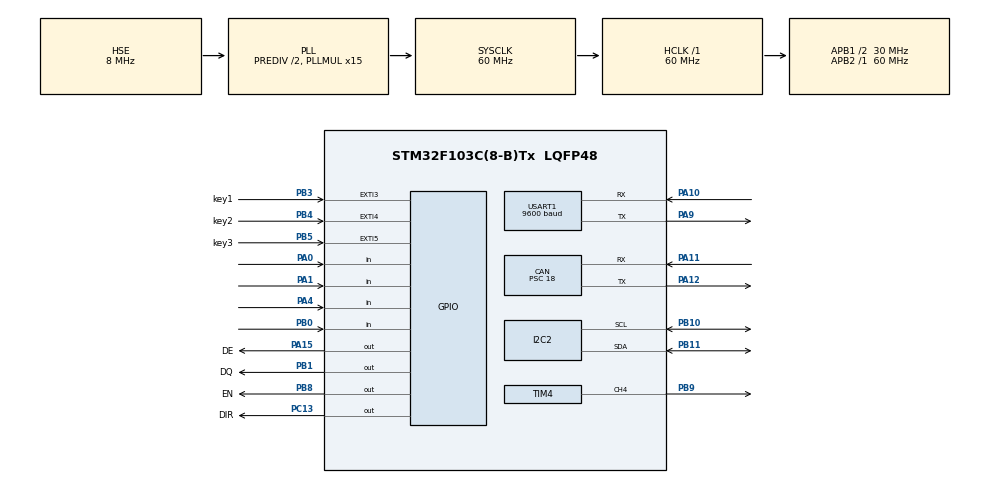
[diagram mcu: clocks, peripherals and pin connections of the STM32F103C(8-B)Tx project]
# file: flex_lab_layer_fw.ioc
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CAN.ABOM=DISABLE
CAN.BS1=CAN_BS1_5TQ
CAN.BS2=CAN_BS2_5TQ
CAN.CalculateBaudRate=151515
CAN.CalculateTimeBit=6600
CAN.CalculateTimeQuantum=600.0
CAN.NART=ENABLE
CAN.Prescaler=18
I2C2.DutyCycle=I2C_DUTYCYCLE_16_9
I2C2.I2C_Mode=I2C_Fast
Mcu.Family=STM32F1
Mcu.Name=STM32F103C(8-B)Tx
Mcu.Package=LQFP48
NVIC.EXTI3_IRQn=true\:3\:0\:true\:false\:true\:true\:true
NVIC.EXTI4_IRQn=true\:3\:0\:true\:false\:true\:true\:true
NVIC.EXTI9_5_IRQn=true\:3\:0\:true\:false\:true\:true\:true
NVIC.PriorityGroup=NVIC_PRIORITYGROUP_4
NVIC.TIM1_UP_IRQn=true\:2\:0\:true\:false\:true\:true\:true
NVIC.USB_LP_CAN1_RX0_IRQn=true\:1\:0\:true\:false\:true\:true\:true
PA0-WKUP.Signal=GPIO_Input
PA1.Signal=GPIO_Input
PA10.Mode=Asynchronous
PA10.Signal=USART1_RX
PA11.Mode=CAN_Activate
PA11.Signal=CAN_RX
PA12.Mode=CAN_Activate
PA12.Signal=CAN_TX
PA13.Mode=Serial_Wire
PA13.Signal=SYS_JTMS-SWDIO
PA14.Mode=Serial_Wire
PA14.Signal=SYS_JTCK-SWCLK
PA15.GPIO_Label=DE
PA15.GPIO_Speed=GPIO_SPEED_FREQ_HIGH
PA15.Signal=GPIO_Output
PA4.Signal=GPIO_Input
PA9.Mode=Asynchronous
PA9.Signal=USART1_TX
PB0.Signal=GPIO_Input
PB1.GPIO_Label=DQ
PB1.GPIO_Speed=GPIO_SPEED_FREQ_HIGH
PB1.PinState=GPIO_PIN_SET
PB1.Signal=GPIO_Output
PB10.GPIO_Pu=GPIO_PULLUP
PB10.Mode=I2C
PB10.Signal=I2C2_SCL
PB11.GPIO_Pu=GPIO_PULLUP
PB11.Mode=I2C
PB11.Signal=I2C2_SDA
PB3.GPIO_Label=key1
PB3.GPIO_ModeDefaultEXTI=GPIO_MODE_IT_FALLING
PB3.GPIO_PuPd=GPIO_PULLUP
PB3.Signal=GPXTI3
PB4.GPIO_Label=key2
PB4.GPIO_ModeDefaultEXTI=GPIO_MODE_IT_FALLING
PB4.GPIO_PuPd=GPIO_PULLUP
PB4.Signal=GPXTI4
PB5.GPIO_Label=key3
PB5.GPIO_ModeDefaultEXTI=GPIO_MODE_IT_FALLING
PB5.GPIO_PuPd=GPIO_PULLUP
PB5.Signal=GPXTI5
PB8.GPIO_Label=EN
PB8.GPIO_PuPd=GPIO_PULLUP
PB8.PinState=GPIO_PIN_SET
PB8.Signal=GPIO_Output
PB9.Signal=S_TIM4_CH4
PC13-TAMPER-RTC.GPIO_Label=DIR
PC13-TAMPER-RTC.Signal=GPIO_Output
PC14-OSC32_IN.Mode=LSE-External-Oscillator
PC14-OSC32_IN.Signal=RCC_OSC32_IN
PC15-OSC32_OUT.Mode=LSE-External-Oscillator
PC15-OSC32_OUT.Signal=RCC_OSC32_OUT
PD0-OSC_IN.Mode=HSE-External-Oscillator
PD0-OSC_IN.Signal=RCC_OSC_IN
PD1-OSC_OUT.Mode=HSE-External-Oscillator
PD1-OSC_OUT.Signal=RCC_OSC_OUT
ProjectManager.HeapSize=0x200
ProjectManager.StackSize=0x400
ProjectManager.TargetToolchain=MDK-ARM V5.27
RCC.AHBFreq_Value=60000000
RCC.APB1CLKDivider=RCC_HCLK_DIV2
RCC.APB1Freq_Value=30000000
RCC.APB1TimFreq_Value=60000000
RCC.APB2Freq_Value=60000000
RCC.APB2TimFreq_Value=60000000
RCC.HCLKFreq_Value=60000000
RCC.HSEDivPLL=RCC_HSE_PREDIV_DIV2
RCC.PLLMUL=RCC_PLL_MUL15
RCC.PLLSourceVirtual=RCC_PLLSOURCE_HSE
RCC.RTCClockSelection=RCC_RTCCLKSOURCE_LSE
RCC.SYSCLKFreq_VALUE=60000000
RCC.SYSCLKSource=RCC_SYSCLKSOURCE_PLLCLK
RCC.USBFreq_Value=60000000
RTC.Format=RTC_FORMAT_BIN
SH.S_TIM4_CH4.0=TIM4_CH4,PWM Generation4 CH4
TIM1.ClockDivision=TIM_CLOCKDIVISION_DIV1
TIM1.Period=10000
TIM1.Prescaler=6000
TIM4.AutoReloadPreload=TIM_AUTORELOAD_PRELOAD_ENABLE
TIM4.Channel-PWM\ Generation4\ CH4=TIM_CHANNEL_4
TIM4.Period=400
TIM4.Prescaler=60
TIM4.Pulse-PWM\ Generation4\ CH4=200
USART1.BaudRate=9600
USART1.VirtualMode=VM_ASYNC
VP_RTC_VS_RTC_Activate.Mode=RTC_Enabled
VP_RTC_VS_RTC_Calendar.Mode=RTC_Calendar
VP_TIM1_VS_ClockSourceINT.Mode=Internal
VP_TIM4_VS_ClockSourceINT.Mode=Internal
board=custom

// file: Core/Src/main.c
/* USER CODE BEGIN Header */
/**
  ******************************************************************************
  * @file           : main.c
  * @brief          : Main program body
  ******************************************************************************
  * @attention
  *
  * <h2><center>&copy; Copyright (c) 2021 STMicroelectronics.
  * All rights reserved.</center></h2>
  *
  * This software component is licensed by ST under BSD 3-Clause license,
  * the "License"; You may not use this file except in compliance with the
  * License. You may obtain a copy of the License at:
  *                        opensource.org/licenses/BSD-3-Clause
  *
  ******************************************************************************
  */
/* USER CODE END Header */
#include "main.h"
#include "can.h"
#include "i2c.h"
#include "rtc.h"
#include "tim.h"
#include "usart.h"
#include "gpio.h"

/* USER CODE BEGIN Includes */
#include "I2C_1602.h"
#include "relay_485.h"
#include "key.h"
#include "ds18b20.h"
#include "layer_define.h"
/* USER CODE END Includes */

/* USER CODE BEGIN PV */
uint8_t CAN_command;
uint8_t cabin_occ=0;
extern uint8_t Rx_Data[8];
uint8_t Tx_Data[8];

uint8_t reflash_flag=0;

union	layer_settings
{
	Layer_SettingTypeDef member;
	uint8_t buf[27];
}layer_settings;

union	layer_status
{
	Layer_StatusTypeDef member;
	uint8_t buf[4];
}layer_status;

union RGB
{
	uint32_t data;
	uint8_t buf[4];
}RGB;

RTC_TimeTypeDef sTime;
RTC_DateTypeDef sDate;

uint8_t minute_mark=0, hour_mark=0;
int32_t vent_lim=-1;
int32_t cyc_lim=-1;
uint8_t water_change_state=0;

uint8_t key;
/* USER CODE END PV */

void SystemClock_Config(void);

/* USER CODE BEGIN 0 */
uint8_t relay_state[]={1,1,1,1,1,1};
void set_relay(uint8_t num,uint8_t state)
{
	if(relay_state[num-1]!=state)
	{
		relay_state[num-1]=state;
		if(num>3)
			relay_485_OnOff(num-3,state,0xf1);
		else
			relay_485_OnOff(num,state,0xf0);

		HAL_Delay(100);
	}
}
/* USER CODE END 0 */

int main(void)
{
  /* USER CODE BEGIN 1 */
	static uint8_t test=0x01;
	uint8_t relay_num=1;
	uint8_t t=0,p_min;
	int32_t vent_times=0;
	int32_t cyc_times=0;
	uint8_t p_Layerstate=0;
	uint32_t nus_vol_buf=0;

	static uint8_t level_sensor1=1,level_sensor2=0,level_sensor3=0;//debug
	static uint32_t tt_debug=0;//debug
  /* USER CODE END 1 */

  /* MCU Configuration--------------------------------------------------------*/

  /* Reset of all peripherals, Initializes the Flash interface and the Systick. */
  HAL_Init();

  /* Configure the system clock */
  SystemClock_Config();

  /* Initialize all configured peripherals */
  MX_GPIO_Init();
  MX_RTC_Init();
  MX_USART1_UART_Init();
  MX_CAN_Init();
  MX_TIM1_Init();
  MX_I2C2_Init();
  MX_TIM4_Init();
  /* USER CODE BEGIN 2 */
	lcd_1602_init();
	relay_485_init();
	HAL_TIM_Base_Start_IT(&htim1);

	DS18B20_Init();

	lcd_1602_Setbacklight(100,100,0);
	if(relay_state[relay_num-1])
		lcd_1602_printf(1,0,"relay %d off ",relay_num);
	else
		lcd_1602_printf(1,0,"relay %d on",relay_num);

	layer_status.member.layer_state=0x03;

	HAL_RTC_GetTime(&hrtc, &sTime, RTC_FORMAT_BIN);
	p_min=sTime.Minutes;
  /* USER CODE END 2 */

  /* Infinite loop */
  /* USER CODE BEGIN WHILE */
  while (1)
  {
/*------------------------------------------------------------------*/
		switch(layer_status.member.layer_state)//state control
		{
			case 0:		//state wait
			case 1:   //state vent
				if(layer_settings.member.light_status==0)//light control
				{
					set_relay(3,1);
					layer_status.member.light_status=0;
				}
				else if(layer_settings.member.light_status==1)
				{
					set_relay(3,0);
					layer_status.member.light_status=1;
				}
				else
				{
					if(layer_settings.member.light_ontime>layer_settings.member.light_offtime)
					{
						if(sTime.Hours>=layer_settings.member.light_offtime && sTime.Hours<layer_settings.member.light_ontime)
						{
							set_relay(3,1);
							layer_status.member.light_status=0;
						}
						else
						{
							set_relay(3,0);
							layer_status.member.light_status=1;
						}
					}
					else if(layer_settings.member.light_ontime<layer_settings.member.light_offtime)
					{
						if(sTime.Hours<layer_settings.member.light_offtime && sTime.Hours>=layer_settings.member.light_ontime)
						{
							set_relay(3,0);
							layer_status.member.light_status=1;
						}
						else
						{
							set_relay(3,1);
							layer_status.member.light_status=0;
						}
					}
					else
						set_relay(3,0);
				}

				if(layer_settings.member.vent_mode==0)//vent control
				{
					set_relay(6,1);
					layer_status.member.layer_state=0;
				}
				else if(layer_settings.member.vent_mode==1)
				{
					set_relay(6,0);
					layer_status.member.layer_state=1;
				}
				else
				{
					if(vent_times<=0)
					{
						set_relay(6,0);
						layer_status.member.layer_state=1;
					}
					else
					{
						set_relay(6,1);
						layer_status.member.layer_state=0;
					}
				}

				if(layer_settings.member.cycle_schedule!=0)//cycle control
				{
					if(cyc_times<=0)
					{
						set_relay(4,0);
						set_relay(5,0);
						layer_status.member.cycle_status=1;
					}
					else
					{
						set_relay(4,1);
						set_relay(5,1);
						layer_status.member.cycle_status=0;
					}
				}
				else
				{
					set_relay(4,1);
					set_relay(5,1);
					layer_status.member.cycle_status=0;
				}

				if(layer_settings.member.enable_status==0)
				{
					layer_status.member.layer_state=3;
				}

			break;

			case 2:  //state water change

				if(water_change_state!=0)
				{
					if(water_change_state<=4)
					{
						HAL_GPIO_WritePin(EN_GPIO_Port, EN_Pin, GPIO_PIN_RESET); //dosing pump enable
						HAL_TIM_PWM_Start(&htim4, TIM_CHANNEL_4);

						if(nus_vol_buf==0)
							water_change_state--;
					}
					else
					{
						static uint8_t updown_state=0;

						switch(tt_debug)//debug
						{
							case 0:
								level_sensor1=1;level_sensor2=0;level_sensor3=0;
							break;

							case 2000:
								level_sensor1=0;level_sensor2=0;level_sensor3=0;
							break;

							case 4000:
								level_sensor1=1;level_sensor2=0;level_sensor3=0;
							break;

							case 8000:
								level_sensor1=1;level_sensor2=1;level_sensor3=0;
							break;

							case 10000:
								level_sensor1=1;level_sensor2=0;level_sensor3=0;
							break;

							case 12000:
								level_sensor1=0;level_sensor2=0;level_sensor3=0;
							break;

							case 14000:
								level_sensor1=1;level_sensor2=0;level_sensor3=0;
							break;

							case 16000:
								level_sensor1=1;level_sensor2=1;level_sensor3=0;
							break;

							case 18000:
								level_sensor1=1;level_sensor2=0;level_sensor3=0;
							break;

							case 20000:
								level_sensor1=1;level_sensor2=0;level_sensor3=1;
								tt_debug=0;
						}
						tt_debug++;

						switch(updown_state)
						{
							case 0://water down
								set_relay(1,1);//valve open out
								set_relay(2,0);
								set_relay(4,1);//cyc pump out
								set_relay(5,0);
								water_change_state=5;//pump down
								if(level_sensor1==0 && level_sensor2==0)//buffer empty
									updown_state=1;
							break;

							case 1://water up
								set_relay(1,0);//valve open in
								set_relay(2,1);
								set_relay(4,1);//cyc pump off
								set_relay(5,1);
								water_change_state=6;//pump up
								if(level_sensor1==1 && level_sensor2==1)//buffer full
									updown_state=2;
							break;

							case 2://fill piple
								set_relay(1,0);//valve open in
								set_relay(2,1);
								set_relay(4,0);//cyc pump in
								set_relay(5,1);
								water_change_state=7;//pump stop
								if(level_sensor1==0 && level_sensor2==0)//buffer empty
									updown_state=1;
								else if(level_sensor3==1)//piple full
								{
									set_relay(1,1);//valve off
									set_relay(2,1);
									set_relay(4,0);//cyc
									set_relay(5,0);
									water_change_state=4;
									updown_state=0;
								}

							break;
						}
					}

					switch(water_change_state)
					{
						case 7://stop
							Tx_Data[0]=0x01;
							Can_TxMessage(0,0x200,8,Tx_Data);
						break;

						case 6://up pump
							Tx_Data[0]=0x00;
							Tx_Data[1]=0x01;
							Tx_Data[2]=0xFF;
							Tx_Data[3]=0x10;
							Can_TxMessage(0,0x200,8,Tx_Data);
						break;

						case 5://down pump
							Tx_Data[0]=0x00;
							Tx_Data[1]=0x01;
							Tx_Data[2]=0xFF;
							Tx_Data[3]=0x20;
							Can_TxMessage(0,0x200,8,Tx_Data);
						break;

						case 4:
							Tx_Data[0]=0x00;
							Tx_Data[1]=0x01;
							Tx_Data[2]=0xFF;
							Tx_Data[3]=0x01;
							Can_TxMessage(0,0x200,8,Tx_Data);
						break;

						case 3:
							if(nus_vol_buf==0)
							{
								if(layer_settings.member.nus1_volume==0)
									break;
								nus_vol_buf=layer_settings.member.nus1_volume;
							}

							Tx_Data[0]=0x00;
							Tx_Data[1]=0x01;
							Tx_Data[2]=0xFF;
							Tx_Data[3]=0x02;
							Can_TxMessage(0,0x200,8,Tx_Data);
						break;

						case 2:
							if(nus_vol_buf==0)
							{
								if(layer_settings.member.nus2_volume==0)
									break;
								nus_vol_buf=layer_settings.member.nus2_volume;
							}

							Tx_Data[0]=0x00;
							Tx_Data[1]=0x01;
							Tx_Data[2]=0xFF;
							Tx_Data[3]=0x04;
							Can_TxMessage(0,0x200,8,Tx_Data);
						break;

						case 1:
							if(nus_vol_buf==0)
							{
								if(layer_settings.member.nus3_volume==0)
									break;
								nus_vol_buf=layer_settings.member.nus3_volume;
							}

							Tx_Data[0]=0x00;
							Tx_Data[1]=0x01;
							Tx_Data[2]=0xFF;
							Tx_Data[3]=0x08;
							Can_TxMessage(0,0x200,8,Tx_Data);
						break;
					}

					if(nus_vol_buf!=0 && water_change_state<=4)
						nus_vol_buf--;
				}
				else
				{
					Tx_Data[0]=0x01;
					Can_TxMessage(0,0x200,8,Tx_Data);

					HAL_GPIO_WritePin(EN_GPIO_Port, EN_Pin, GPIO_PIN_SET); //dosing pump disable
					HAL_TIM_PWM_Stop(&htim4, TIM_CHANNEL_4);

					layer_status.member.layer_state=p_Layerstate;
				}
			break;

			case 3:  //state disable
				if(layer_settings.member.enable_status==1)
				{
					layer_status.member.layer_state=0;
				}
			break;

			default:
				layer_status.member.layer_state=3;
			break;
		}
/*------------------------------------------------------------------*/
		switch(key)//process key input
		{
			case 1:
				relay_num++;
				if(relay_num>6)
					relay_num=1;
			break;

			case 2:
				if(relay_state[relay_num-1]==0)
					relay_state[relay_num-1]=1;
				else
					relay_state[relay_num-1]=0;

				if(relay_num<=3)
					relay_485_OnOff(relay_num,relay_state[relay_num-1],0xf0);
				else
					relay_485_OnOff(relay_num-3,relay_state[relay_num-1],0xf1);
			break;

			case 3:
				water_change_state=0;
			break;

			default:break;
		}

		if(key)
		{
			if(relay_state[relay_num-1])
				lcd_1602_printf(1,0,"relay %d off ",relay_num);
			else
				lcd_1602_printf(1,0,"relay %d on ",relay_num);
			key=0;
		}
/*------------------------------------------------------------------*/
		if(CAN_command==0x07)//temp report command
		{
			layer_status.member.temp=DS18B20_Get_Temp()/10;
			Tx_Data[0]=0x07;
			Tx_Data[1]=layer_status.member.temp;
			Tx_Data[2]=layer_status.member.layer_state;
			Tx_Data[3]=layer_status.member.light_status;
			Tx_Data[4]=layer_status.member.cycle_status;

			if(relay_state[2]==0)
				layer_status.member.light_status=1;
			else
				layer_status.member.light_status=0;

			Can_TxMessage(0,0x001,8,Tx_Data);
			CAN_command=0x00;

//			layer_status.member.temp++;//debug use
//			if(layer_status.member.temp>100)
//				layer_status.member.temp=0;
		}
		else if(CAN_command==0x09 && cabin_occ==0 && water_change_state==0)//water change command
		{
			water_change_state=7;
			set_relay(1,0);
			set_relay(2,1);
			set_relay(4,1);//cyc
			set_relay(5,0);
			nus_vol_buf=10000;
			p_Layerstate=layer_status.member.layer_state;
			layer_status.member.layer_state=2;

			CAN_command=0x00;
		}
/*------------------------------------------------------------------*/
		if(RGB.buf[0]==0x01)//backlight control
		{
			lcd_1602_Setbacklight(RGB.buf[3],RGB.buf[2],RGB.buf[1]);
		}
		else
		{
			if(layer_status.member.layer_state==0)
				lcd_1602_Setbacklight(0,100,0);
			else if(layer_status.member.layer_state==1)
				lcd_1602_Setbacklight(0,100,0);
			else if(layer_status.member.layer_state==2)
				lcd_1602_Setbacklight(0,0,100);
			else if(layer_status.member.layer_state==3)
				lcd_1602_Setbacklight(100,100,0);
		}
/*------------------------------------------------------------------*/
		if(hour_mark==1)//timing service
		{
			if(layer_settings.member.vent_schedule_hour_flag==1 && layer_settings.member.vent_mode==2)//vent contdown in hour
			{
				vent_times--;
				if((vent_times*60)<vent_lim)
					vent_times=layer_settings.member.vent_schedule;
			}

			if(layer_settings.member.cycle_schedule_hour_flag==1 && layer_settings.member.cycle_schedule!=0)//cycle contdown in hour
			{
				cyc_times--;
				if((cyc_times*60)<cyc_lim)
					cyc_times=layer_settings.member.cycle_schedule;
			}

			hour_mark=0;
		}

		if(minute_mark==1)
		{
			if(layer_settings.member.vent_schedule_hour_flag==0 && layer_settings.member.vent_mode==2)//vent contdown in minute
			{
				vent_times--;
				if((vent_times)<vent_lim)
					vent_times=layer_settings.member.vent_schedule;
			}

			if(layer_settings.member.cycle_schedule_hour_flag==0 && layer_settings.member.cycle_schedule!=0)//cycle contdown in minute
			{
				cyc_times--;
				if((cyc_times)<cyc_lim)
					cyc_times=layer_settings.member.cycle_schedule;
			}

			minute_mark=0;
		}
/*------------------------------------------------------------------*/
		if(t%500==0)//time display
		{
			HAL_RTC_GetTime(&hrtc, &sTime, RTC_FORMAT_BIN);
			HAL_RTC_GetDate(&hrtc, &sDate, RTC_FORMAT_BIN);
			if(p_min!=sTime.Minutes||reflash_flag==1)
			{
				if(sTime.Hours>9)
					lcd_1602_printf(0,1,"20%02d-%d-%d %d:%02d",sDate.Year, sDate.Month, sDate.Date, sTime.Hours, sTime.Minutes);
				else
					lcd_1602_printf(0,1,"20%02d-%d-%d %d:%02d ",sDate.Year, sDate.Month, sDate.Date, sTime.Hours, sTime.Minutes);
				p_min=sTime.Minutes;
			}
		}
/*------------------------------------------------------------------*/
		t++;
		HAL_Delay(1);
/*------------------------------------------------------------------*/
    /* USER CODE END WHILE */

  }
}

void SystemClock_Config(void)
{
  RCC_OscInitTypeDef RCC_OscInitStruct = {0};
  RCC_ClkInitTypeDef RCC_ClkInitStruct = {0};
  RCC_PeriphCLKInitTypeDef PeriphClkInit = {0};

  /** Initializes the RCC Oscillators according to the specified parameters
  * in the RCC_OscInitTypeDef structure.
  */
  RCC_OscInitStruct.OscillatorType = RCC_OSCILLATORTYPE_HSE|RCC_OSCILLATORTYPE_LSE;
  RCC_OscInitStruct.HSEState = RCC_HSE_ON;
  RCC_OscInitStruct.HSEPredivValue = RCC_HSE_PREDIV_DIV2;
  RCC_OscInitStruct.LSEState = RCC_LSE_ON;
  RCC_OscInitStruct.HSIState = RCC_HSI_ON;
  RCC_OscInitStruct.PLL.PLLState = RCC_PLL_ON;
  RCC_OscInitStruct.PLL.PLLSource = RCC_PLLSOURCE_HSE;
  RCC_OscInitStruct.PLL.PLLMUL = RCC_PLL_MUL15;
  if (HAL_RCC_OscConfig(&RCC_OscInitStruct) != HAL_OK)
  {
    Error_Handler();
  }
  /** Initializes the CPU, AHB and APB buses clocks
  */
  RCC_ClkInitStruct.ClockType = RCC_CLOCKTYPE_HCLK|RCC_CLOCKTYPE_SYSCLK
                              |RCC_CLOCKTYPE_PCLK1|RCC_CLOCKTYPE_PCLK2;
  RCC_ClkInitStruct.SYSCLKSource = RCC_SYSCLKSOURCE_PLLCLK;
  RCC_ClkInitStruct.AHBCLKDivider = RCC_SYSCLK_DIV1;
  RCC_ClkInitStruct.APB1CLKDivider = RCC_HCLK_DIV2;
  RCC_ClkInitStruct.APB2CLKDivider = RCC_HCLK_DIV1;

  if (HAL_RCC_ClockConfig(&RCC_ClkInitStruct, FLASH_LATENCY_2) != HAL_OK)
  {
    Error_Handler();
  }
  PeriphClkInit.PeriphClockSelection = RCC_PERIPHCLK_RTC;
  PeriphClkInit.RTCClockSelection = RCC_RTCCLKSOURCE_LSE;
  if (HAL_RCCEx_PeriphCLKConfig(&PeriphClkInit) != HAL_OK)
  {
    Error_Handler();
  }
}

/* USER CODE BEGIN 4 */

void HAL_TIM_PeriodElapsedCallback(TIM_HandleTypeDef *htim)
{
	static uint64_t Tim1_cnt;
	static uint8_t i=0;
	Tim1_cnt++;

	if(Tim1_cnt%60==0)
	{
		minute_mark=1;
	}

	if(Tim1_cnt==3600)
	{
		hour_mark=1;
		Tim1_cnt=0;
	}
}

void HAL_GPIO_EXTI_Callback(uint16_t GPIO_Pin)
{
		HAL_Delay(10);

		if(KEY1==0)       key=1;
		else if(KEY2==0)  key=2;
		else if(KEY3==0)  key=3;

}

/* USER CODE END 4 */

void Error_Handler(void)
{
  __disable_irq();
  while (1)
  {
  }
}
